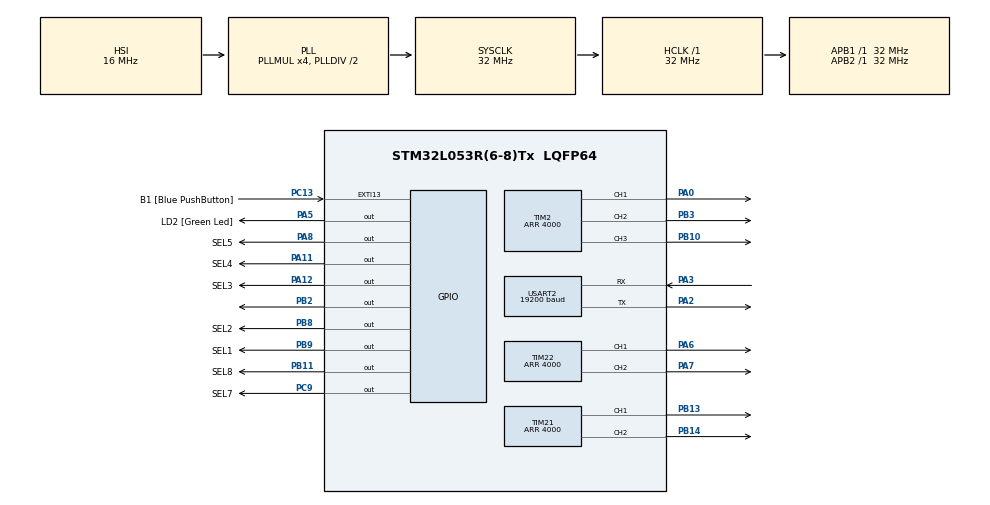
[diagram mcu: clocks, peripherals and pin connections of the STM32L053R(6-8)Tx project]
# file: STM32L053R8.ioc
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LPTIM1.ClockPrescaler=LPTIM_PRESCALER_DIV128
LPTIM1.TriggerSource=LPTIM_TRIGSOURCE_SOFTWARE
Mcu.Family=STM32L0
Mcu.Name=STM32L053R(6-8)Tx
Mcu.Package=LQFP64
NVIC.LPTIM1_IRQn=true\:0\:0\:false\:false\:true\:true\:true\:true
NVIC.USART2_IRQn=true\:0\:0\:false\:false\:true\:true\:true\:true
PA0.Signal=S_TIM2_CH1
PA11.GPIO_Label=SEL4
PA11.Signal=GPIO_Output
PA12.GPIO_Label=SEL3
PA12.Signal=GPIO_Output
PA13.GPIO_Label=TMS
PA13.Mode=Serial_Wire
PA13.Signal=SYS_SWDIO
PA14.GPIO_Label=TCK
PA14.Mode=Serial_Wire
PA14.Signal=SYS_SWCLK
PA2.Mode=Asynchronous
PA2.Signal=USART2_TX
PA3.Mode=Asynchronous
PA3.Signal=USART2_RX
PA5.GPIO_Label=LD2 [Green Led]
PA5.Signal=GPIO_Output
PA6.Signal=S_TIM22_CH1
PA7.Signal=S_TIM22_CH2
PA8.GPIO_Label=SEL5
PA8.Signal=GPIO_Output
PB10.Signal=S_TIM2_CH3
PB11.GPIO_Label=SEL8
PB11.Signal=GPIO_Output
PB13.Signal=S_TIM21_CH1
PB14.Signal=S_TIM21_CH2
PB2.Signal=GPIO_Output
PB3.Signal=S_TIM2_CH2
PB8.GPIO_Label=SEL2
PB8.Signal=GPIO_Output
PB9.GPIO_Label=SEL1
PB9.Signal=GPIO_Output
PC13.GPIO_Label=B1 [Blue PushButton]
PC13.GPIO_ModeDefaultEXTI=GPIO_MODE_IT_FALLING
PC13.Signal=GPXTI13
PC14-OSC32_IN.Signal=RCC_OSC32_IN
PC15-OSC32_OUT.Signal=RCC_OSC32_OUT
PC9.GPIO_Label=SEL7
PC9.Signal=GPIO_Output
PH0-OSC_IN.Mode=HSE-External-Oscillator
PH0-OSC_IN.Signal=RCC_OSC_IN
PH1-OSC_OUT.Mode=HSE-External-Oscillator
PH1-OSC_OUT.Signal=RCC_OSC_OUT
ProjectManager.HeapSize=0x200
ProjectManager.StackSize=0x400
ProjectManager.TargetToolchain=STM32CubeIDE
RCC.AHBFreq_Value=32000000
RCC.APB1Freq_Value=32000000
RCC.APB1TimFreq_Value=32000000
RCC.APB2Freq_Value=32000000
RCC.APB2TimFreq_Value=32000000
RCC.HCLKFreq_Value=32000000
RCC.HSE_VALUE=8000000
RCC.HSI16_VALUE=16000000
RCC.HSI48_VALUE=48000000
RCC.HSI_VALUE=16000000
RCC.LSE_VALUE=32768
RCC.LptimClockSelection=RCC_LPTIM1CLKSOURCE_LSI
RCC.MSI_VALUE=2097000
RCC.PLLMUL=RCC_PLLMUL_4
RCC.SYSCLKFreq_VALUE=32000000
RCC.SYSCLKSource=RCC_SYSCLKSOURCE_PLLCLK
RCC.VCOOutputFreq_Value=64000000
SH.S_TIM21_CH1.0=TIM21_CH1,PWM Generation1 CH1
SH.S_TIM21_CH2.0=TIM21_CH2,PWM Generation2 CH2
SH.S_TIM22_CH1.0=TIM22_CH1,PWM Generation1 CH1
SH.S_TIM22_CH2.0=TIM22_CH2,PWM Generation2 CH2
SH.S_TIM2_CH1.0=TIM2_CH1,PWM Generation1 CH1
SH.S_TIM2_CH2.0=TIM2_CH2,PWM Generation2 CH2
SH.S_TIM2_CH3.0=TIM2_CH3,PWM Generation3 CH3
TIM2.Channel-PWM\ Generation1\ CH1=TIM_CHANNEL_1
TIM2.Channel-PWM\ Generation2\ CH2=TIM_CHANNEL_2
TIM2.Channel-PWM\ Generation3\ CH3=TIM_CHANNEL_3
TIM2.Channel-PWM\ Generation4\ CH4=TIM_CHANNEL_4
TIM2.CounterMode=TIM_COUNTERMODE_CENTERALIGNED1
TIM2.Period=4000
TIM21.Channel-PWM\ Generation1\ CH1=TIM_CHANNEL_1
TIM21.Channel-PWM\ Generation2\ CH2=TIM_CHANNEL_2
TIM21.CounterMode=TIM_COUNTERMODE_CENTERALIGNED1
TIM21.Period=4000
TIM22.Channel-PWM\ Generation1\ CH1=TIM_CHANNEL_1
TIM22.Channel-PWM\ Generation2\ CH2=TIM_CHANNEL_2
TIM22.CounterMode=TIM_COUNTERMODE_CENTERALIGNED1
TIM22.Period=4000
USART2.BaudRate=19200
USART2.VirtualMode-Asynchronous=VM_ASYNC
VP_LPTIM1_VS_LPTIM_counterModeInternalClock.Mode=Counts__internal_clock_event_00
VP_TIM2_VS_ClockSourceINT.Mode=Internal
board=NUCLEO-L053R8

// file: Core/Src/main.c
/* USER CODE BEGIN Header */
/**
  ******************************************************************************
  * @file           : main.c
  * @brief          : Main program body
  ******************************************************************************
  * @attention
  *
  * Copyright (c) 2022 STMicroelectronics.
  * All rights reserved.
  *
  * This software is licensed under terms that can be found in the LICENSE file
  * in the root directory of this software component.
  * If no LICENSE file comes with this software, it is provided AS-IS.
  *
  ******************************************************************************
  */
/* USER CODE END Header */
#include "main.h"
#include "lptim.h"
#include "tim.h"
#include "usart.h"
#include "gpio.h"

/* USER CODE BEGIN Includes */
#include "global_config.h"
#include "controller.h"
#include "statemachine_process.h"
#include "statemachine_uart.h"
#include "knx_receive_telegram.h"

/* USER CODE END Includes */

void SystemClock_Config(void);

/* USER CODE BEGIN 0 */
void HAL_UART_TxCpltCallback(UART_HandleTypeDef *huart);
void HAL_UART_RxCpltCallback(UART_HandleTypeDef *huart);
void HAL_UART_ErrorCallback(UART_HandleTypeDef *huart);
void HAL_LPTIM_AutoReloadMatchCallback(LPTIM_HandleTypeDef *hlptim);

/* USER CODE END 0 */

int main(void)
{

  /* MCU Configuration--------------------------------------------------------*/

  /* Reset of all peripherals, Initializes the Flash interface and the Systick. */
  HAL_Init();

  /* Configure the system clock */
  SystemClock_Config();

  /* Initialize all configured peripherals */
  MX_GPIO_Init();
  MX_TIM2_Init();
  MX_TIM21_Init();
  MX_TIM22_Init();
  MX_LPTIM1_Init();
  MX_USART2_UART_Init();

  /* Infinite loop */
  /* USER CODE BEGIN WHILE */
  while (1)
  {

	  statemachine_process();
	  extract_data();

    /* USER CODE END WHILE */

  }
}

void SystemClock_Config(void)
{
  RCC_OscInitTypeDef RCC_OscInitStruct = {0};
  RCC_ClkInitTypeDef RCC_ClkInitStruct = {0};
  RCC_PeriphCLKInitTypeDef PeriphClkInit = {0};

  /** Configure the main internal regulator output voltage
  */
  __HAL_PWR_VOLTAGESCALING_CONFIG(PWR_REGULATOR_VOLTAGE_SCALE1);

  /** Initializes the RCC Oscillators according to the specified parameters
  * in the RCC_OscInitTypeDef structure.
  */
  RCC_OscInitStruct.OscillatorType = RCC_OSCILLATORTYPE_HSI|RCC_OSCILLATORTYPE_LSI;
  RCC_OscInitStruct.HSIState = RCC_HSI_ON;
  RCC_OscInitStruct.HSICalibrationValue = RCC_HSICALIBRATION_DEFAULT;
  RCC_OscInitStruct.LSIState = RCC_LSI_ON;
  RCC_OscInitStruct.PLL.PLLState = RCC_PLL_ON;
  RCC_OscInitStruct.PLL.PLLSource = RCC_PLLSOURCE_HSI;
  RCC_OscInitStruct.PLL.PLLMUL = RCC_PLLMUL_4;
  RCC_OscInitStruct.PLL.PLLDIV = RCC_PLLDIV_2;
  if (HAL_RCC_OscConfig(&RCC_OscInitStruct) != HAL_OK)
  {
    Error_Handler();
  }

  /** Initializes the CPU, AHB and APB buses clocks
  */
  RCC_ClkInitStruct.ClockType = RCC_CLOCKTYPE_HCLK|RCC_CLOCKTYPE_SYSCLK
                              |RCC_CLOCKTYPE_PCLK1|RCC_CLOCKTYPE_PCLK2;
  RCC_ClkInitStruct.SYSCLKSource = RCC_SYSCLKSOURCE_PLLCLK;
  RCC_ClkInitStruct.AHBCLKDivider = RCC_SYSCLK_DIV1;
  RCC_ClkInitStruct.APB1CLKDivider = RCC_HCLK_DIV1;
  RCC_ClkInitStruct.APB2CLKDivider = RCC_HCLK_DIV1;

  if (HAL_RCC_ClockConfig(&RCC_ClkInitStruct, FLASH_LATENCY_1) != HAL_OK)
  {
    Error_Handler();
  }
  PeriphClkInit.PeriphClockSelection = RCC_PERIPHCLK_USART2|RCC_PERIPHCLK_LPTIM1;
  PeriphClkInit.Usart2ClockSelection = RCC_USART2CLKSOURCE_PCLK1;
  PeriphClkInit.LptimClockSelection = RCC_LPTIM1CLKSOURCE_LSI;

  if (HAL_RCCEx_PeriphCLKConfig(&PeriphClkInit) != HAL_OK)
  {
    Error_Handler();
  }
}

/* USER CODE BEGIN 4 */
void HAL_UART_RxCpltCallback(UART_HandleTypeDef *huart){

	statemachine_uart();
}

void HAL_UART_ErrorCallback(UART_HandleTypeDef *huart){
	__NOP();
}

void HAL_UART_TxCpltCallback(UART_HandleTypeDef *huart){
	__NOP();
}

void HAL_LPTIM_AutoReloadMatchCallback(LPTIM_HandleTypeDef *hlptim){

	HAL_LPTIM_Counter_Stop_IT(&hlptim1);
	flag_lptim_interrupt = FLAG_TRUE;
}

/* USER CODE END 4 */

void Error_Handler(void)
{
  __disable_irq();
  while (1)
  {
  }
}
